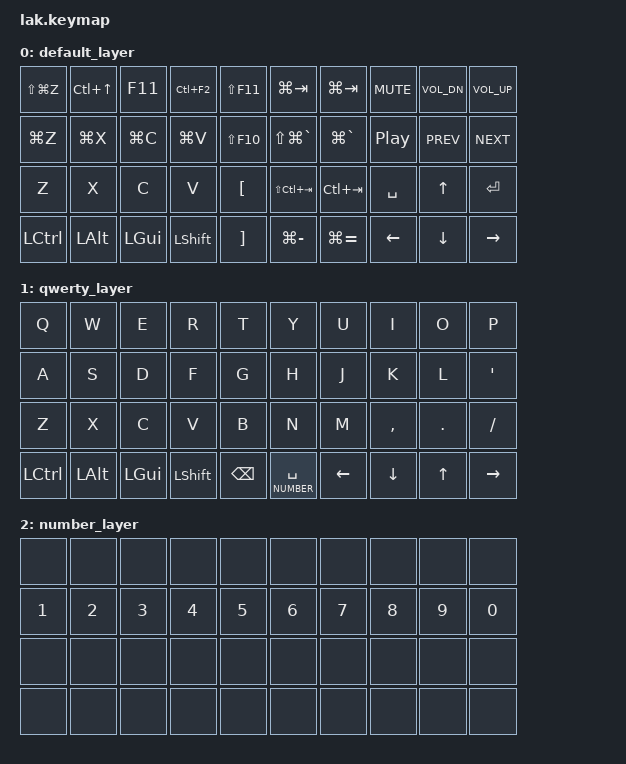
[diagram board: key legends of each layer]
#include <behaviors.dtsi>
#include <dt-bindings/zmk/keys.h>

#define DEFAULT 0
#define QWERTY  1
#define NUMBER  2


/ {
	combos {
		compatible = "zmk,combos";
		combo_bootloader {
			timeout-ms = <100>;
			key-positions = <24 27 29 34>;
			bindings = <&bootloader>;
		};
		combo_qwerty {
			timeout-ms = <200>;
			key-positions = <20 21 22 23>;
			bindings = <&tog QWERTY>;
		};	
		combo_enter {
			timeout-ms = <100>;
			key-positions = <18 19>;
			layers = <QWERTY>;
			bindings = <&kp RET>;
		};	
		combo_tab {
			timeout-ms = <100>;
			key-positions = <0 1>;
			layers = <QWERTY>;
			bindings = <&kp TAB>;
		};	
		combo_ESC {
			timeout-ms = <100>;
			key-positions = <10 11>;
			layers = <QWERTY>;
			bindings = <&kp ESC>;
		};	
    };	

	keymap {
		compatible = "zmk,keymap";

		default_layer {
// -------------------------------------------------------------------------
// ~/Desktop/lak.png

			bindings = <
	&kp LS(LG(Z)) &kp LC(UP) &kp F11   &kp LC(F2) &kp LS(F11) &kp LG(TAB)       &kp LG(TAB)   &kp C_MUTE &kp C_VOL_DN &kp C_VOL_UP 
	&kp LG(Z)     &kp LG(X)  &kp LG(C) &kp LG(V)  &kp LS(F10) &kp LS(LG(GRAVE)) &kp LG(GRAVE) &kp C_PP   &kp C_PREV   &kp C_NEXT
	&kp Z         &kp X      &kp C     &kp V      &kp LBKT    &kp LS(LC(TAB))   &kp LC(TAB)   &kp SPACE  &kp UP       &kp RET
	&kp LCTRL     &kp LALT   &kp LGUI  &kp LSHFT  &kp RBKT    &kp LG(MINUS)     &kp LG(EQUAL) &kp LEFT   &kp DOWN     &kp RIGHT
			>;
		};

		qwerty_layer {
// ------------------------------------------------------------------------
// Q W E R T Y U I O P
// A S D F G H J K L '
// Z X C V B N M , . /
// c a g s b s l d u r
			bindings = <
	&kp Q     &kp W    &kp E    &kp R     &kp T    &kp Y            &kp U    &kp I     &kp O   &kp P
	&kp A     &kp S    &kp D    &kp F     &kp G    &kp H            &kp J    &kp K     &kp L   &kp SQT
    &kp Z     &kp X    &kp C    &kp V     &kp B    &kp N            &kp M    &kp COMMA &kp DOT &kp FSLH
	&kp LCTRL &kp LALT &kp LGUI &kp LSHFT &kp BSPC &lt NUMBER SPACE &kp LEFT &kp DOWN  &kp UP  &kp RIGHT
			>;
		};

		number_layer {
// ------------------------------------------------------------------------
// 
// 1 2 3 4 5 6 7 8 9 0
// 
//
			bindings = <
	&none  &none  &none  &none  &none  &none  &none  &none  &none  &none
	&kp N1 &kp N2 &kp N3 &kp N4 &kp N5 &kp N6 &kp N7 &kp N8 &kp N9 &kp N0
    &none  &none  &none  &none  &none  &none  &none  &none  &none  &none
	&none  &none  &none  &none  &none  &none  &none  &none  &none  &none
			>;
		};
	};
};

